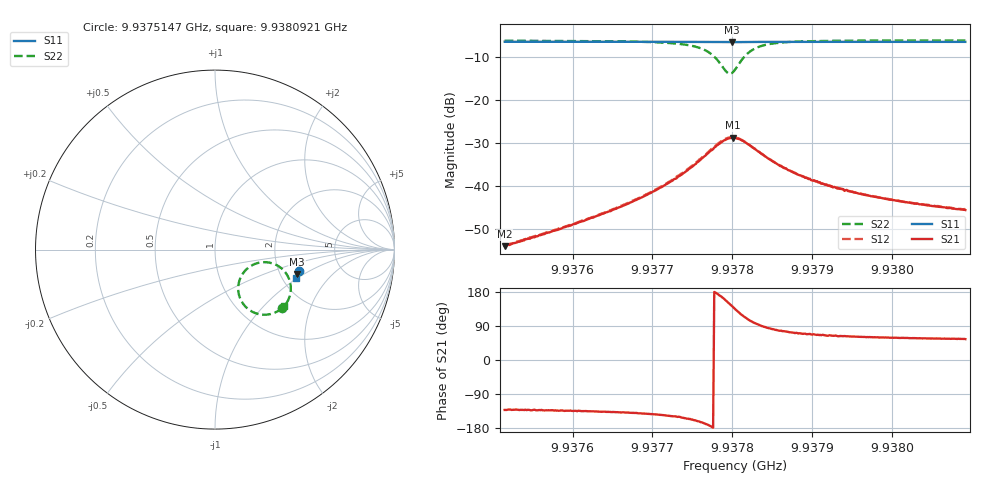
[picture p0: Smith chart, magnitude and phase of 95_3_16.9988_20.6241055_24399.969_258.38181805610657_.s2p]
#  HZ  S  RI  R  50.00
! Rohde & Schwarz Vector Network Analyzer
! Rohde-Schwarz,ZNB20-2Port,1311601062101988,3.16
! Created: UTC 3/20/2024, 10:56:18 PM
! freq[Hz]  re:S11  im:S11  re:S21  im:S21  re:S12  im:S12  re:S22  im:S22
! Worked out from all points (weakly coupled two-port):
!   401 points, 9.9375147 GHz to 9.9380921 GHz, reference 50 ohm
!   highest |S21| = -28.74 dB at 9.9378005 GHz (marker M1); lowest = -54.1 dB at 9.9375147 GHz (marker M2)
!   lowest |S11| = -6.4 dB at 9.9377991 GHz (marker M3), VSWR 2.82, Z = 123 - j43.6 ohm
!   |S11| at or under -10 dB: nowhere
!   |S22| runs from -13.8 to -6.0 dB; largest |S21 - S12| = 0.002
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9.93751473e9  0.4673 -0.1203  -0.00132 -0.00147  -0.00134 -0.00152  0.3726 -0.3272
9.93761144e9  0.4648 -0.1268  -0.00274 -0.00274  -0.00282 -0.00276  0.3551 -0.3398
9.93766774e9  0.4636 -0.1307  -0.00459 -0.00403  -0.00476 -0.00403  0.3353 -0.3503
9.93770816e9  0.4623 -0.1337  -0.00761 -0.00545  -0.00781 -0.00542  0.3074 -0.3596
9.93773703e9  0.4611 -0.1358  -0.0121 -0.0064  -0.0125 -0.00644  0.268 -0.3629
9.93776301e9  0.4595 -0.1374  -0.0206 -0.00536  -0.0213 -0.00503  0.1996 -0.3416
9.93777456e9  0.4584 -0.1381  -0.0261 -0.00157  -0.0272 -0.000886  0.1574 -0.3027
9.93778611e9  0.4574 -0.1377  -0.0314 0.00681  -0.0321 0.00857  0.1296 -0.2241
9.93779332e9  0.4571 -0.1373  -0.0319 0.0152  -0.0319 0.0169  0.1413 -0.1584
9.9377991e9  0.4569 -0.1368  -0.0291 0.0216  -0.0286 0.0235  0.1746 -0.1104
9.93780054e9  0.4571 -0.1368  -0.0282 0.0233  -0.0274 0.0249  0.186 -0.1008
9.93780343e9  0.4573 -0.1365  -0.0255 0.0258  -0.0247 0.0273  0.2106 -0.0851
9.93781065e9  0.4579 -0.1363  -0.0178 0.0295  -0.0167 0.0306  0.2764 -0.0699
9.93781786e9  0.4584 -0.1365  -0.0109 0.0296  -0.00969 0.0303  0.3327 -0.0811
9.93782508e9  0.4591 -0.1373  -0.00524 0.0278  -0.00424 0.0281  0.3714 -0.1051
9.93783374e9  0.4594 -0.1381  -0.000987 0.025  -0.000161 0.0248  0.3989 -0.1367
9.93785972e9  0.4594 -0.1406  0.00377 0.0166  0.0042 0.0167  0.4222 -0.2066
9.93787993e9  0.4592 -0.1422  0.00439 0.0132  0.00464 0.0132  0.4212 -0.2373
9.93790014e9  0.4587 -0.1439  0.00452 0.0106  0.00475 0.0109  0.4172 -0.2567
9.93794778e9  0.4575 -0.1473  0.00402 0.00761  0.00419 0.0076  0.4072 -0.2833
9.93799686e9  0.4563 -0.1506  0.00358 0.00591  0.0037 0.00593  0.3987 -0.2981
9.93809213e9  0.4539 -0.1571  0.00299 0.00429  0.0031 0.00436  0.3869 -0.3145
